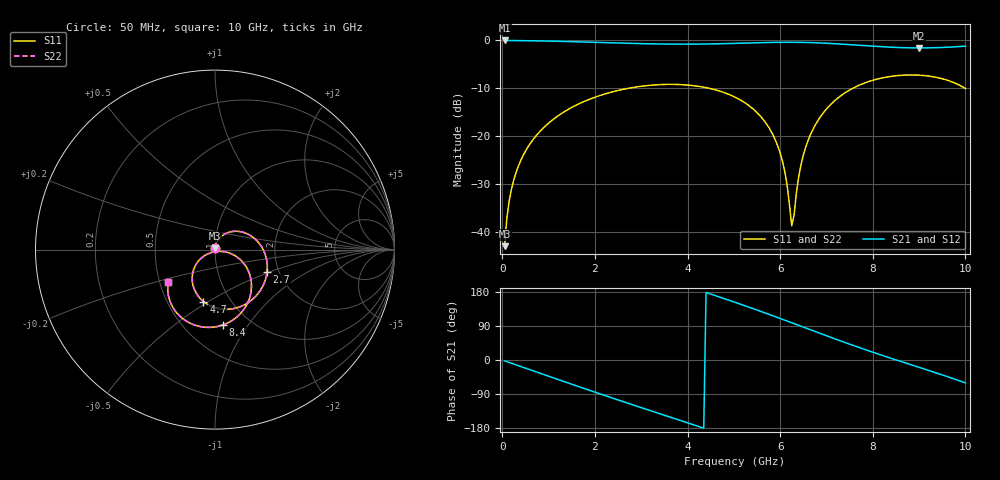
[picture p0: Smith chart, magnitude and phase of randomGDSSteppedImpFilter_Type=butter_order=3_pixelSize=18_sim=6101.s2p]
! freq	dB(S11)	phase(S11)	dB(S12)	phase(S12)
!  dB(S21)	phase(S21)	dB(S22)	phase(S22)
!S-par simulation data
#  GHz  S  DB  R 50
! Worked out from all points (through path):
!   200 points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, 50 MHz to 10 GHz, reference 50 ohm
!   highest |S21| = 0.00 dB at 50 MHz (marker M1); lowest = -1.6 dB at 9 GHz (marker M2)
!   group delay of S21, straight-line fit = 117 ps
!   lowest |S11| = -42.9 dB at 50 MHz (marker M3), VSWR 1.01, Z = 50 + j0.717 ohm
!   |S11| at or under -10 dB: start of sweep to 2.709 GHz; 4.48 GHz to 7.562 GHz (3.082 GHz wide, 51.2 % of centre); 9.996354 GHz to end of sweep
!   |S22| runs from -42.9 to -7.2 dB; largest |S21 - S12| = 0
!   S11 on the Smith chart (normalised r, x): 50 MHz: 1.00, +0.01; 2.7 GHz: 1.73, -0.48; 4.7 GHz: 0.75, -0.48; 8.4 GHz: 0.75, -0.77; 10 GHz: 0.56, -0.22
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0.05  -42.89 86.9  -0.00 -2.2  -0.00 -2.2  -42.89 86.9
0.1  -36.89 84.9  -0.01 -4.4  -0.01 -4.4  -36.89 84.9
0.2  -30.92 80.6  -0.02 -8.7  -0.02 -8.7  -30.92 80.6
0.5  -23.09 68.0  -0.05 -21.5  -0.05 -21.5  -23.09 68.0
1  -17.24 47.0  -0.13 -42.9  -0.13 -42.9  -17.24 47.0
1.75  -12.79 15.6  -0.32 -74.5  -0.32 -74.5  -12.79 15.6
2.7  -10.02 -23.3  -0.59 -113.6  -0.59 -113.6  -10.02 -23.2
3.4  -9.21 -51.2  -0.74 -141.8  -0.74 -141.8  -9.21 -51.2
4.05  -9.34 -76.9  -0.78 -167.8  -0.78 -167.8  -9.34 -76.8
4.7  -10.57 -102.5  -0.69 165.8  -0.69 165.8  -10.57 -102.4
5.05  -11.93 -116.5  -0.60 151.2  -0.60 151.2  -11.93 -116.3
5.55  -15.54 -136.2  -0.47 129.7  -0.47 129.7  -15.53 -135.9
5.9  -20.83 -148.2  -0.40 114.2  -0.40 114.2  -20.82 -147.7
6.1  -27.34 -148.9  -0.38 105.1  -0.38 105.1  -27.30 -147.9
6.25  -38.65 -96.4  -0.38 98.3  -0.38 98.3  -38.09 -95.5
6.45  -25.90 -12.8  -0.40 89.1  -0.40 89.1  -25.88 -13.7
6.7  -18.70 -16.7  -0.46 77.7  -0.46 77.7  -18.69 -17.1
7.55  -10.06 -50.5  -0.91 39.6  -0.91 39.6  -10.06 -50.6
8.35  -7.55 -82.3  -1.40 6.3  -1.40 6.3  -7.55 -82.3
8.4  -7.48 -84.2  -1.42 4.3  -1.42 4.3  -7.48 -84.2
9  -7.24 -106.9  -1.56 -19.4  -1.56 -19.4  -7.25 -106.9
10  -10.02 -145.3  -1.20 -60.5  -1.20 -60.5  -10.02 -145.4
